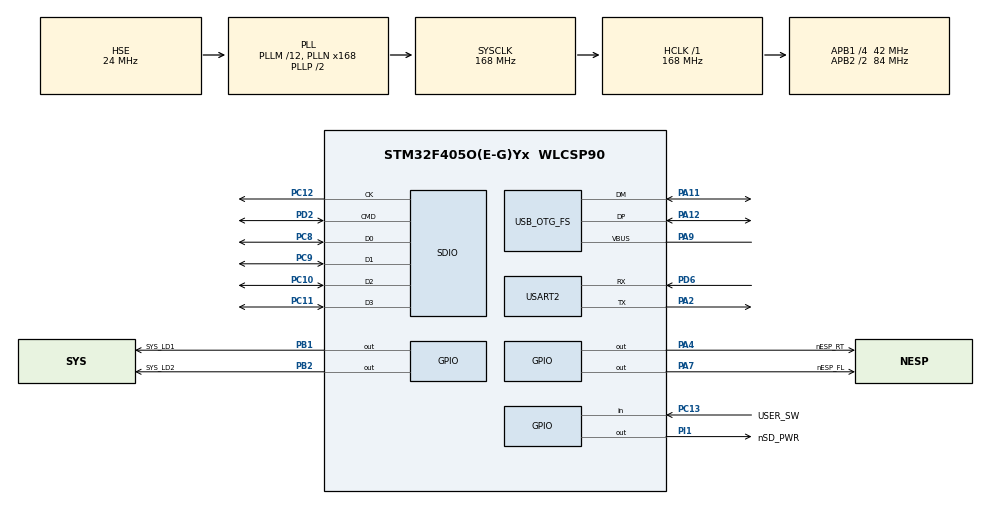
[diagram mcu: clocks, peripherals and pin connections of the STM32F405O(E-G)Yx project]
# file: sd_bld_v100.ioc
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Dma.Request0=SDIO_RX
Dma.Request1=SDIO_TX
Dma.SDIO_RX.0.Direction=DMA_PERIPH_TO_MEMORY
Dma.SDIO_RX.0.FIFOMode=DMA_FIFOMODE_ENABLE
Dma.SDIO_RX.0.FIFOThreshold=DMA_FIFO_THRESHOLD_FULL
Dma.SDIO_RX.0.Instance=DMA2_Stream3
Dma.SDIO_RX.0.MemBurst=DMA_MBURST_INC4
Dma.SDIO_RX.0.MemDataAlignment=DMA_MDATAALIGN_WORD
Dma.SDIO_RX.0.MemInc=DMA_MINC_ENABLE
Dma.SDIO_RX.0.Mode=DMA_PFCTRL
Dma.SDIO_RX.0.PeriphBurst=DMA_PBURST_INC4
Dma.SDIO_RX.0.PeriphDataAlignment=DMA_PDATAALIGN_WORD
Dma.SDIO_RX.0.PeriphInc=DMA_PINC_DISABLE
Dma.SDIO_RX.0.Priority=DMA_PRIORITY_LOW
Dma.SDIO_TX.1.Direction=DMA_MEMORY_TO_PERIPH
Dma.SDIO_TX.1.FIFOMode=DMA_FIFOMODE_ENABLE
Dma.SDIO_TX.1.FIFOThreshold=DMA_FIFO_THRESHOLD_FULL
Dma.SDIO_TX.1.Instance=DMA2_Stream6
Dma.SDIO_TX.1.MemBurst=DMA_MBURST_INC4
Dma.SDIO_TX.1.MemDataAlignment=DMA_MDATAALIGN_WORD
Dma.SDIO_TX.1.MemInc=DMA_MINC_ENABLE
Dma.SDIO_TX.1.Mode=DMA_PFCTRL
Dma.SDIO_TX.1.PeriphBurst=DMA_PBURST_INC4
Dma.SDIO_TX.1.PeriphDataAlignment=DMA_PDATAALIGN_WORD
Dma.SDIO_TX.1.PeriphInc=DMA_PINC_DISABLE
Dma.SDIO_TX.1.Priority=DMA_PRIORITY_LOW
FATFS._CODE_PAGE=437
FATFS._USE_FIND=1
FATFS._USE_LABEL=1
FATFS._USE_LFN=1
Mcu.Family=STM32F4
Mcu.Name=STM32F405O(E-G)Yx
Mcu.Package=WLCSP90
NVIC.DMA2_Stream3_IRQn=true\:1\:0\:true\:false\:true\:false
NVIC.DMA2_Stream6_IRQn=true\:1\:0\:true\:false\:true\:false
NVIC.OTG_FS_IRQn=true\:1\:0\:true\:false\:true\:false
NVIC.PriorityGroup=NVIC_PRIORITYGROUP_4
PA11.Mode=Device_Only
PA11.Signal=USB_OTG_FS_DM
PA12.Mode=Device_Only
PA12.Signal=USB_OTG_FS_DP
PA2.Mode=Asynchronous
PA2.Signal=USART2_TX
PA4.GPIO_Label=nESP_RT
PA4.Signal=GPIO_Output
PA7.GPIO_Label=nESP_FL
PA7.Signal=GPIO_Output
PA9.Mode=Activate_VBUS
PA9.Signal=USB_OTG_FS_VBUS
PB1.GPIO_Label=SYS_LD1
PB1.Signal=GPIO_Output
PB10.Signal=USART3_TX
PB11.Signal=USART3_RX
PB13.Signal=SPI2_SCK
PB14.Signal=SPI2_MISO
PB15.Signal=SPI2_MOSI
PB2.GPIO_Label=SYS_LD2
PB2.Signal=GPIO_Output
PC10.GPIO_PuPd=GPIO_NOPULL
PC10.Mode=SD_4_bits_Wide_bus
PC10.Signal=SDIO_D2
PC11.GPIO_PuPd=GPIO_NOPULL
PC11.Mode=SD_4_bits_Wide_bus
PC11.Signal=SDIO_D3
PC12.GPIO_PuPd=GPIO_NOPULL
PC12.Mode=SD_4_bits_Wide_bus
PC12.Signal=SDIO_CK
PC13-ANTI_TAMP.GPIO_Label=USER_SW
PC13-ANTI_TAMP.Signal=GPIO_Input
PC8.GPIO_PuPd=GPIO_NOPULL
PC8.Mode=SD_4_bits_Wide_bus
PC8.Signal=SDIO_D0
PC9.GPIO_PuPd=GPIO_NOPULL
PC9.Mode=SD_4_bits_Wide_bus
PC9.Signal=SDIO_D1
PD2.GPIO_PuPd=GPIO_NOPULL
PD2.Mode=SD_4_bits_Wide_bus
PD2.Signal=SDIO_CMD
PD6.Mode=Asynchronous
PD6.Signal=USART2_RX
PH0-OSC_IN.Mode=HSE-External-Oscillator
PH0-OSC_IN.Signal=RCC_OSC_IN
PH1-OSC_OUT.Mode=HSE-External-Oscillator
PH1-OSC_OUT.Signal=RCC_OSC_OUT
PI1.GPIO_Label=nSD_PWR
PI1.GPIO_PuPd=GPIO_PULLDOWN
PI1.Signal=GPIO_Output
ProjectManager.HeapSize=0x8000
ProjectManager.StackSize=0x4000
ProjectManager.TargetToolchain=MDK-ARM V5
RCC.48MHZClocksFreq_Value=48000000
RCC.AHBFreq_Value=168000000
RCC.APB1CLKDivider=RCC_HCLK_DIV4
RCC.APB1Freq_Value=42000000
RCC.APB1TimFreq_Value=84000000
RCC.APB2CLKDivider=RCC_HCLK_DIV2
RCC.APB2Freq_Value=84000000
RCC.APB2TimFreq_Value=168000000
RCC.CortexFreq_Value=168000000
RCC.HCLKFreq_Value=168000000
RCC.HSE_VALUE=24000000
RCC.HSI_VALUE=16000000
RCC.LSE_VALUE=32768
RCC.PLLM=12
RCC.PLLN=168
RCC.PLLQ=7
RCC.SYSCLKFreq_VALUE=168000000
RCC.SYSCLKSource=RCC_SYSCLKSOURCE_PLLCLK
RCC.VCOOutputFreq_Value=336000000
SDIO.ClockDiv=0
USART2.VirtualMode=VM_ASYNC
USB_DEVICE.CLASS_NAME_FS=MSC
USB_DEVICE.MSC_MEDIA_PACKET-MSC_FS=0x4000
USB_DEVICE.VirtualMode-MSC_FS=Msc
USB_DEVICE.VirtualModeFS=Msc_FS
USB_OTG_FS.VirtualMode=Device_Only
VP_FATFS_VS_SDIO.Mode=SDIO
VP_USB_DEVICE_VS_USB_DEVICE_MSC_FS.Mode=MSC_FS
board=custom

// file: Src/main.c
/* USER CODE BEGIN Header */
/**
  ******************************************************************************
  * @file           : main.c
  * @brief          : Main program body
  ******************************************************************************
  * This notice applies to any and all portions of this file
  * that are not between comment pairs USER CODE BEGIN and
  * USER CODE END. Other portions of this file, whether
  * inserted by the user or by software development tools
  * are owned by their respective copyright owners.
  *
  * Copyright (c) 2018 STMicroelectronics International N.V.
  * All rights reserved.
  *
  * Redistribution and use in source and binary forms, with or without
  * modification, are permitted, provided that the following conditions are met:
  *
  * 1. Redistribution of source code must retain the above copyright notice,
  *    this list of conditions and the following disclaimer.
  * 2. Redistributions in binary form must reproduce the above copyright notice,
  *    this list of conditions and the following disclaimer in the documentation
  *    and/or other materials provided with the distribution.
  * 3. Neither the name of STMicroelectronics nor the names of other
  *    contributors to this software may be used to endorse or promote products
  *    derived from this software without specific written permission.
  * 4. This software, including modifications and/or derivative works of this
  *    software, must execute solely and exclusively on microcontroller or
  *    microprocessor devices manufactured by or for STMicroelectronics.
  * 5. Redistribution and use of this software other than as permitted under
  *    this license is void and will automatically terminate your rights under
  *    this license.
  *
  * THIS SOFTWARE IS PROVIDED BY STMICROELECTRONICS AND CONTRIBUTORS "AS IS"
  * AND ANY EXPRESS, IMPLIED OR STATUTORY WARRANTIES, INCLUDING, BUT NOT
  * LIMITED TO, THE IMPLIED WARRANTIES OF MERCHANTABILITY, FITNESS FOR A
  * PARTICULAR PURPOSE AND NON-INFRINGEMENT OF THIRD PARTY INTELLECTUAL PROPERTY
  * RIGHTS ARE DISCLAIMED TO THE FULLEST EXTENT PERMITTED BY LAW. IN NO EVENT
  * SHALL STMICROELECTRONICS OR CONTRIBUTORS BE LIABLE FOR ANY DIRECT, INDIRECT,
  * INCIDENTAL, SPECIAL, EXEMPLARY, OR CONSEQUENTIAL DAMAGES (INCLUDING, BUT NOT
  * LIMITED TO, PROCUREMENT OF SUBSTITUTE GOODS OR SERVICES; LOSS OF USE, DATA,
  * OR PROFITS; OR BUSINESS INTERRUPTION) HOWEVER CAUSED AND ON ANY THEORY OF
  * LIABILITY, WHETHER IN CONTRACT, STRICT LIABILITY, OR TORT (INCLUDING
  * NEGLIGENCE OR OTHERWISE) ARISING IN ANY WAY OUT OF THE USE OF THIS SOFTWARE,
  * EVEN IF ADVISED OF THE POSSIBILITY OF SUCH DAMAGE.
  *
  ******************************************************************************
  */
/* USER CODE END Header */

#include "main.h"
#include "fatfs.h"
#include "usb_device.h"

/* USER CODE BEGIN Includes */
#include "user_def.h"
#include "mem_if.h"

/* USER CODE END Includes */

/* USER CODE BEGIN PD */
#define APP1_DEFAULT_ADD     0x08010000
typedef  void (*pFunction)(void);

/* USER CODE END PD */

SD_HandleTypeDef hsd;
DMA_HandleTypeDef hdma_sdio_rx;
DMA_HandleTypeDef hdma_sdio_tx;

UART_HandleTypeDef huart2;

/* USER CODE BEGIN PV */
pFunction Jump_To_Application;
uint32_t JumpAddress;

FRESULT res;
FILINFO fno;
DIR dir;
uint32_t byteswritten, bytesread;	//File write/read counts

extern uint8_t retSD; 	// Return value for SD
extern char SDPath[4]; 	// SD logical drive path
extern FATFS SDFatFS; 	// File system object for SD logical drive
extern FIL SDFile; 			// File object for SD

/* USER CODE END PV */

void SystemClock_Config(void);
static void MX_GPIO_Init(void);
static void MX_DMA_Init(void);
static void MX_SDIO_SD_Init(void);
static void MX_USART2_UART_Init(void);

/* USER CODE BEGIN 0 */
#ifdef __GNUC__
 #define PUTCHAR_PROTOTYPE int __io_putchar(int ch)
#else
 #define PUTCHAR_PROTOTYPE int fputc(int ch, FILE *f)
#endif

PUTCHAR_PROTOTYPE
{
 HAL_UART_Transmit(&huart2, (uint8_t *)&ch, 1, 1);
 return ch;
}
/* USER CODE END 0 */

int main(void)
{

  /* MCU Configuration--------------------------------------------------------*/

  /* Reset of all peripherals, Initializes the Flash interface and the Systick. */
  HAL_Init();

  /* Configure the system clock */
  SystemClock_Config();

  /* Initialize all configured peripherals */
  MX_GPIO_Init();
  MX_DMA_Init();
  MX_SDIO_SD_Init();
  MX_USART2_UART_Init();
  //MX_USB_DEVICE_Init();
  MX_FATFS_Init();

  /* Infinite loop */
  /* USER CODE BEGIN WHILE */
	uint32_t sw,sw_old;
	uint32_t tim_tick_ms,tim_tick_ms_sw,tim_tick_ms_ld;

	sw = sw_old = HAL_GPIO_ReadPin(USER_SW_GPIO_Port,USER_SW_Pin);
	tim_tick_ms = tim_tick_ms_sw = tim_tick_ms_ld = HAL_GetTick();
	while ((HAL_GetTick() - tim_tick_ms) < 2000)
	{
		if ((HAL_GetTick() - tim_tick_ms_sw) > 50)
		{
			tim_tick_ms_sw = HAL_GetTick();
			sw_old = sw;
			sw = HAL_GPIO_ReadPin(USER_SW_GPIO_Port,USER_SW_Pin);

			if (sw != sw_old)
			{
				printf("USB MSC Start~!! sw[%08X],sw_old[%08X]\r\n",sw,sw_old);
				MX_USB_DEVICE_Init();
				HAL_GPIO_WritePin(SYS_LD1_GPIO_Port,SYS_LD1_Pin,GPIO_PIN_RESET);
				while(1);
			}
		}
		if ((HAL_GetTick() - tim_tick_ms_ld) > 200)
		{
			tim_tick_ms_ld = HAL_GetTick();
			HAL_GPIO_TogglePin(SYS_LD1_GPIO_Port,SYS_LD1_Pin);
		}
	}

	HAL_GPIO_WritePin(SYS_LD1_GPIO_Port,SYS_LD1_Pin,GPIO_PIN_RESET);
	printf("USB MSC did not Start~!! go to next\r\n");
	HAL_Delay(500);

	uint8_t cnt_hexFiles = 0,i;
	TCHAR label_str[20];

	f_opendir_scan();

	res = f_mount(&SDFatFS,(TCHAR const*)SDPath,1);
	printf("SD Mount : res f_mount : %02X\n\r",res);

	cnt_hexFiles = Is_patterned_file(&SDFile,"fisi_*.hex");
	printf("cnt_hexFiles = %d\r\n",cnt_hexFiles);
	if (cnt_hexFiles)
	{
		if (cnt_hexFiles == 1)
		{
			res = f_findfirst(&dir,&fno,"","fisi_*.hex");
			printf("finded file name : %s\r\n", fno.fname);                // Display the object name
			f_closedir(&dir);

			MEM_If_Erase_FS(APP1_DEFAULT_ADD);
			Write_hexToFlash(&SDFile,fno.fname);
			memset(label_str,0,20);
			memcpy(label_str,fno.fname,strlen(fno.fname));
			i=0;
			while(label_str[i] != '.')
			{
				i++;
			}
			label_str[i] = '\0';
			res = f_setlabel((const TCHAR*)label_str);
			printf("f_setlabel[%d]label name = %s\r\n",res,label_str);
		}
		delete_hex_file(&SDFile,"fisi_*.hex");
	}

	res = f_mount(0,SDPath,0);
	printf("SD Unmount : res f_mount : %02X\n\r",res);

	JumpAddress = *(__IO uint32_t*) (APP1_DEFAULT_ADD + 4);
	Jump_To_Application = (pFunction) JumpAddress;
	// Initialize user application's Stack Pointer
	__set_MSP(*(__IO uint32_t*) APP1_DEFAULT_ADD);
	Jump_To_Application();

  while (1)
  {
    /* USER CODE END WHILE */

  }
}

void SystemClock_Config(void)
{
  RCC_OscInitTypeDef RCC_OscInitStruct = {0};
  RCC_ClkInitTypeDef RCC_ClkInitStruct = {0};

  /**Configure the main internal regulator output voltage
  */
  __HAL_RCC_PWR_CLK_ENABLE();
  __HAL_PWR_VOLTAGESCALING_CONFIG(PWR_REGULATOR_VOLTAGE_SCALE1);
  /**Initializes the CPU, AHB and APB busses clocks
  */
  RCC_OscInitStruct.OscillatorType = RCC_OSCILLATORTYPE_HSE;
  RCC_OscInitStruct.HSEState = RCC_HSE_ON;
  RCC_OscInitStruct.PLL.PLLState = RCC_PLL_ON;
  RCC_OscInitStruct.PLL.PLLSource = RCC_PLLSOURCE_HSE;
  RCC_OscInitStruct.PLL.PLLM = 12;
  RCC_OscInitStruct.PLL.PLLN = 168;
  RCC_OscInitStruct.PLL.PLLP = RCC_PLLP_DIV2;
  RCC_OscInitStruct.PLL.PLLQ = 7;
  if (HAL_RCC_OscConfig(&RCC_OscInitStruct) != HAL_OK)
  {
    Error_Handler();
  }
  /**Initializes the CPU, AHB and APB busses clocks
  */
  RCC_ClkInitStruct.ClockType = RCC_CLOCKTYPE_HCLK|RCC_CLOCKTYPE_SYSCLK
                              |RCC_CLOCKTYPE_PCLK1|RCC_CLOCKTYPE_PCLK2;
  RCC_ClkInitStruct.SYSCLKSource = RCC_SYSCLKSOURCE_PLLCLK;
  RCC_ClkInitStruct.AHBCLKDivider = RCC_SYSCLK_DIV1;
  RCC_ClkInitStruct.APB1CLKDivider = RCC_HCLK_DIV4;
  RCC_ClkInitStruct.APB2CLKDivider = RCC_HCLK_DIV2;

  if (HAL_RCC_ClockConfig(&RCC_ClkInitStruct, FLASH_LATENCY_5) != HAL_OK)
  {
    Error_Handler();
  }
}

static void MX_SDIO_SD_Init(void)
{

  hsd.Instance = SDIO;
  hsd.Init.ClockEdge = SDIO_CLOCK_EDGE_RISING;
  hsd.Init.ClockBypass = SDIO_CLOCK_BYPASS_DISABLE;
  hsd.Init.ClockPowerSave = SDIO_CLOCK_POWER_SAVE_DISABLE;
  hsd.Init.BusWide = SDIO_BUS_WIDE_1B;
  hsd.Init.HardwareFlowControl = SDIO_HARDWARE_FLOW_CONTROL_DISABLE;
  hsd.Init.ClockDiv = 0;

}

static void MX_USART2_UART_Init(void)
{

  huart2.Instance = USART2;
  huart2.Init.BaudRate = 115200;
  huart2.Init.WordLength = UART_WORDLENGTH_8B;
  huart2.Init.StopBits = UART_STOPBITS_1;
  huart2.Init.Parity = UART_PARITY_NONE;
  huart2.Init.Mode = UART_MODE_TX_RX;
  huart2.Init.HwFlowCtl = UART_HWCONTROL_NONE;
  huart2.Init.OverSampling = UART_OVERSAMPLING_16;
  if (HAL_UART_Init(&huart2) != HAL_OK)
  {
    Error_Handler();
  }

}

static void MX_DMA_Init(void)
{
  /* DMA controller clock enable */
  __HAL_RCC_DMA2_CLK_ENABLE();

  /* DMA interrupt init */
  /* DMA2_Stream3_IRQn interrupt configuration */
  HAL_NVIC_SetPriority(DMA2_Stream3_IRQn, 1, 0);
  HAL_NVIC_EnableIRQ(DMA2_Stream3_IRQn);
  /* DMA2_Stream6_IRQn interrupt configuration */
  HAL_NVIC_SetPriority(DMA2_Stream6_IRQn, 1, 0);
  HAL_NVIC_EnableIRQ(DMA2_Stream6_IRQn);

}

static void MX_GPIO_Init(void)
{
  GPIO_InitTypeDef GPIO_InitStruct = {0};

  /* GPIO Ports Clock Enable */
  __HAL_RCC_GPIOC_CLK_ENABLE();
  __HAL_RCC_GPIOI_CLK_ENABLE();
  __HAL_RCC_GPIOD_CLK_ENABLE();
  __HAL_RCC_GPIOA_CLK_ENABLE();
  __HAL_RCC_GPIOH_CLK_ENABLE();
  __HAL_RCC_GPIOB_CLK_ENABLE();

  /*Configure GPIO pin Output Level */
  HAL_GPIO_WritePin(nSD_PWR_GPIO_Port, nSD_PWR_Pin, GPIO_PIN_RESET);

  /*Configure GPIO pin Output Level */
  HAL_GPIO_WritePin(GPIOB, SYS_LD1_Pin|SYS_LD2_Pin, GPIO_PIN_RESET);

  /*Configure GPIO pin Output Level */
  HAL_GPIO_WritePin(GPIOA, nESP_FL_Pin|nESP_RT_Pin, GPIO_PIN_RESET);

  /*Configure GPIO pin : USER_SW_Pin */
  GPIO_InitStruct.Pin = USER_SW_Pin;
  GPIO_InitStruct.Mode = GPIO_MODE_INPUT;
  GPIO_InitStruct.Pull = GPIO_NOPULL;
  HAL_GPIO_Init(USER_SW_GPIO_Port, &GPIO_InitStruct);

  /*Configure GPIO pin : nSD_PWR_Pin */
  GPIO_InitStruct.Pin = nSD_PWR_Pin;
  GPIO_InitStruct.Mode = GPIO_MODE_OUTPUT_PP;
  GPIO_InitStruct.Pull = GPIO_PULLDOWN;
  GPIO_InitStruct.Speed = GPIO_SPEED_FREQ_LOW;
  HAL_GPIO_Init(nSD_PWR_GPIO_Port, &GPIO_InitStruct);

  /*Configure GPIO pins : PB15 PB13 PB14 */
  GPIO_InitStruct.Pin = GPIO_PIN_15|GPIO_PIN_13|GPIO_PIN_14;
  GPIO_InitStruct.Mode = GPIO_MODE_AF_PP;
  GPIO_InitStruct.Pull = GPIO_NOPULL;
  GPIO_InitStruct.Speed = GPIO_SPEED_FREQ_VERY_HIGH;
  GPIO_InitStruct.Alternate = GPIO_AF5_SPI2;
  HAL_GPIO_Init(GPIOB, &GPIO_InitStruct);

  /*Configure GPIO pins : PB10 PB11 */
  GPIO_InitStruct.Pin = GPIO_PIN_10|GPIO_PIN_11;
  GPIO_InitStruct.Mode = GPIO_MODE_AF_PP;
  GPIO_InitStruct.Pull = GPIO_NOPULL;
  GPIO_InitStruct.Speed = GPIO_SPEED_FREQ_VERY_HIGH;
  GPIO_InitStruct.Alternate = GPIO_AF7_USART3;
  HAL_GPIO_Init(GPIOB, &GPIO_InitStruct);

  /*Configure GPIO pins : SYS_LD1_Pin SYS_LD2_Pin */
  GPIO_InitStruct.Pin = SYS_LD1_Pin|SYS_LD2_Pin;
  GPIO_InitStruct.Mode = GPIO_MODE_OUTPUT_PP;
  GPIO_InitStruct.Pull = GPIO_NOPULL;
  GPIO_InitStruct.Speed = GPIO_SPEED_FREQ_LOW;
  HAL_GPIO_Init(GPIOB, &GPIO_InitStruct);

  /*Configure GPIO pins : nESP_FL_Pin nESP_RT_Pin */
  GPIO_InitStruct.Pin = nESP_FL_Pin|nESP_RT_Pin;
  GPIO_InitStruct.Mode = GPIO_MODE_OUTPUT_PP;
  GPIO_InitStruct.Pull = GPIO_NOPULL;
  GPIO_InitStruct.Speed = GPIO_SPEED_FREQ_LOW;
  HAL_GPIO_Init(GPIOA, &GPIO_InitStruct);

}

void Error_Handler(void)
{
}

/************************ (C) COPYRIGHT STMicroelectronics *****END OF FILE****/
